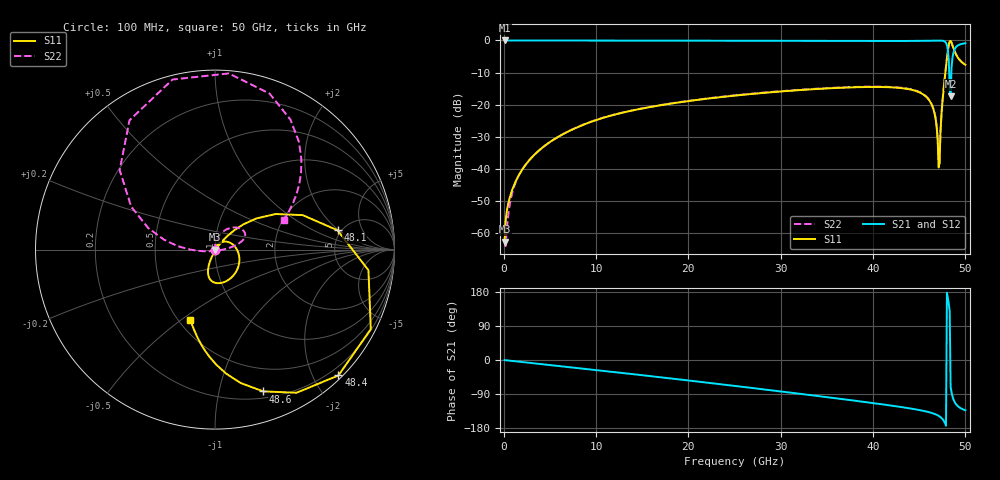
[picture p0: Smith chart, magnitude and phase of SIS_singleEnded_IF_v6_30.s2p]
! Touchstone file from project
# GHZ S MA R 30.000000
! Modal data exported
! Port[1] = IF_output:1
! Port[2] = RF_input:1
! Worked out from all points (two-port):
!   500 points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, 100 MHz to 50 GHz, reference 30 ohm
!   highest |S21| = 0.00 dB at 100 MHz (marker M1); lowest = -17.4 dB at 48.4 GHz (marker M2)
!   |S21| within 3 dB of the highest: start of sweep to 48.1 GHz; 48.79 GHz to end of sweep
!   lowest |S11| = -62.7 dB at 100 MHz (marker M3), VSWR 1.00, Z = 30 + j0.0302 ohm
!   |S11| at or under -10 dB: start of sweep to 47.83 GHz
!   |S22| runs from -64.1 to -0.1 dB; largest |S21 - S12| = 0
!   S11 on the Smith chart (normalised r, x): 100 MHz: 1.00, +0.00; 48.1 GHz: 4.65, +1.92; 48.4 GHz: 0.06, -2.38; 48.6 GHz: 0.26, -1.36; 50 GHz: 0.57, -0.54
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0.1  0.0007364 43.0  1 -0.3  1 -0.3  0.0006904 132.7
! Gamma 6.231006E-003 5.681214E+000 0.000000E+000 0.000000E+000
! Port Impedance 3.000000E+001 0.000000E+000 3.000000E+001 0.000000E+000
0.5  0.002912 79.9  0.9999 -1.4  0.9999 -1.4  0.00194 99.7
0.9  0.004605 79.5  0.9998 -2.4  0.9998 -2.4  0.004093 95.1
2.1  0.01019 77.0  0.9997 -5.7  0.9997 -5.7  0.01028 90.0
4.7  0.0244 68.1  0.9993 -12.6  0.9993 -12.6  0.02427 86.4
8.5  0.0478 53.1  0.9982 -22.6  0.9982 -22.6  0.04824 80.4
16.8  0.09693 20.8  0.994 -45.1  0.994 -45.1  0.0976 69.1
25.1  0.1387 -14.6  0.9886 -68.6  0.9886 -68.6  0.14 57.1
33.4  0.1737 -50.7  0.9825 -93.1  0.9825 -93.1  0.1756 43.9
41.7  0.187 -86.9  0.9795 -119.4  0.9795 -119.4  0.1892 27.4
45.9  0.1263 -108.0  0.989 -136.7  0.989 -136.7  0.1283 13.3
46.6  0.07881 -112.6  0.9939 -141.8  0.9939 -141.8  0.08084 7.1
47.1  0.01053 -98.3  0.997 -147.4  0.997 -147.4  0.01332 -24.8
47.3  0.03715 48.2  0.9963 -150.7  0.9963 -150.7  0.03604 -165.1
47.5  0.1052 47.6  0.9913 -155.3  0.9913 -155.3  0.1039 -176.9
47.8  0.2894 36.9  0.9534 -167.1  0.9534 -167.1  0.2885 169.0
48.1  0.691 9.0  0.7145 164.8  0.7145 164.8  0.6913 140.2
48.4  0.9821 -45.5  0.1342 -71.3  0.1342 -71.3  0.9847 85.5
48.6  0.8346 -71.2  0.5382 -95.8  0.5382 -95.8  0.8376 59.9
48.7  0.7577 -79.1  0.6431 -103.6  0.6431 -103.6  0.7607 52.1
49  0.5994 -92.9  0.7944 -117.1  0.7944 -117.1  0.6022 38.5
50  0.4172 -109.2  0.9045 -132.7  0.9045 -132.7  0.4197 23.4
